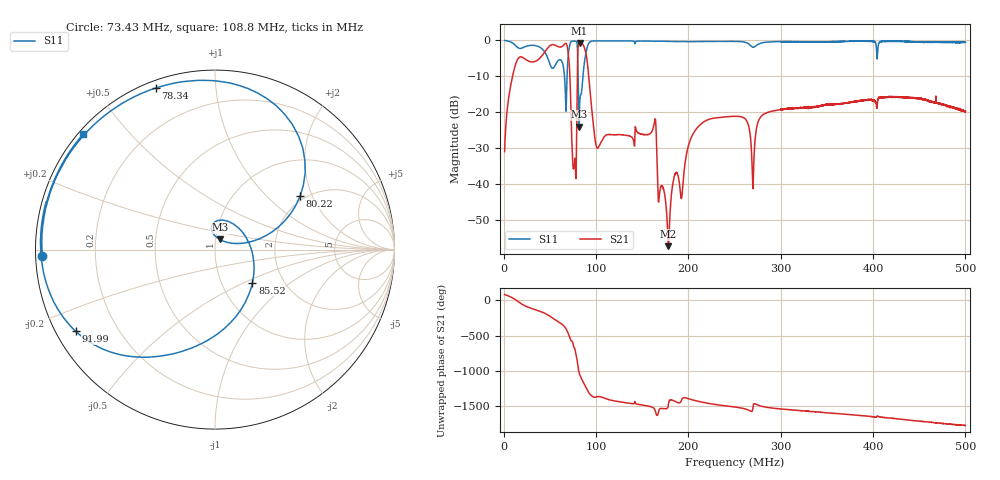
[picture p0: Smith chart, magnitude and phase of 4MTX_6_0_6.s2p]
! NanoVNA-App
! Date: 2026-08-18 21:41:51
! Start: 1MHz Stop: 500MHz Points: 6401
! S-Parameter data: F S11 S21 S12 S22
# Hz S RI R 50
!  Frequency  S11_Real  S11_Imag  S21_Real  S21_Imag  S12_Real  S12_Imag  S22_Real  S22_Imag
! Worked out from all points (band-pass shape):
!   6401 points, 1 MHz to 500 MHz, reference 50 ohm
!   highest |S21| = -0.79 dB at 82.17 MHz (marker M1); lowest = -57.3 dB at 178.5 MHz (marker M2)
!   |S21| within 3 dB of the highest: 43.14 MHz to 69.96 MHz (26.82 MHz wide, 47.4 % of centre); 80.18 MHz to 89.16 MHz (8.984 MHz wide, 10.6 % of centre)
!   lowest |S11| = -24.0 dB at 81.54 MHz (marker M3), VSWR 1.13, Z = 52.3 + j6 ohm
!   |S11| at or under -10 dB: 65.83 MHz to 68.64 MHz (2.801 MHz wide, 4.17 % of centre); 80.64 MHz to 85.88 MHz (5.233 MHz wide, 6.29 % of centre)
!   S12 and S22 are empty: the file has one direction only
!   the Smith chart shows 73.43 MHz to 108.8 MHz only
!   S11 on the Smith chart (normalised r, x): 73.43 MHz: 0.02, -0.02; 78.34 MHz: 0.03, +0.70; 80.22 MHz: 1.88, +1.64; 85.52 MHz: 1.40, -0.56; 91.99 MHz: 0.06, -0.27; 108.8 MHz: 0.01, +0.38
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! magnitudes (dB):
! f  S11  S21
! 1 MHz  -0.1  -31.0
! 14.72 MHz  -2.0  -5.5
! 52.3 MHz  -7.8  -1.3
! 68.36 MHz  -12.1  -1.3
! 73.43 MHz  -0.3  -25.2
! 78.34 MHz  -0.4  -38.1
! 80.22 MHz  -5.0  -3.5
! 81.54 MHz  -24.0  -0.9
! 82.17 MHz  -18.2  -0.8
! 84.19 MHz  -14.6  -0.9
! 85.52 MHz  -11.1  -1.1
! 91.99 MHz  -0.9  -9.8
! 108.8 MHz  -0.2  -26.9
! 162.7 MHz  -0.3  -23.6
! 167.4 MHz  -0.3  -44.3
! 178.5 MHz  -0.3  -57.3
! 206.4 MHz  -0.4  -25.5
! 250.5 MHz  -0.4  -21.2
! 269.9 MHz  -2.0  -41.3
! 333.7 MHz  -0.5  -18.6
! 416.9 MHz  -0.3  -15.9
! 500 MHz  -0.6  -19.8
